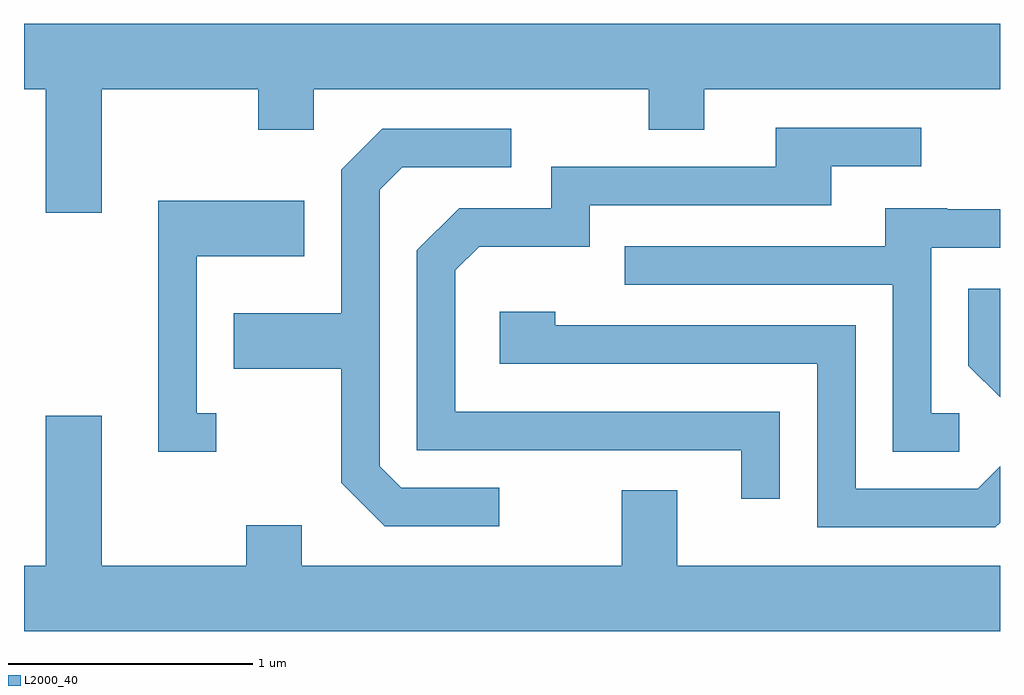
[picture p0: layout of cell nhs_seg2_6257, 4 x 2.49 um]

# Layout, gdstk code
import gdstk
lib = gdstk.Library(unit=1e-6, precision=1e-09)
def P(c, l, *ps):  # polygons
    for p in ps: c.add(gdstk.Polygon(p, *l))
L2000_40 = (2000, 40)

nhs_seg2_6257 = lib.new_cell('nhs_seg2_6257')
P(nhs_seg2_6257, L2000_40, [(369.929,1050.536),(370.571,1050.536),(370.571,1050.371),(370.799,1050.371),(370.799,1050.536),(372.171,1050.536),(372.171,1050.371),(372.399,1050.371),(372.399,1050.536),(373.611,1050.536),(373.611,1050.804),(369.611,1050.804),(369.611,1050.536),(369.701,1050.536),(369.701,1050.031),(369.929,1050.031)],
  [(372.709,1049.214),(371.379,1049.214),(371.379,1049.794),(371.477,1049.891),(371.929,1049.891),(371.929,1050.061),(372.919,1050.061),(372.919,1050.221),(373.288,1050.221),(373.288,1050.379),(372.691,1050.379),(372.691,1050.219),(371.771,1050.219),(371.771,1050.049),(371.394,1050.049),(371.221,1049.877),(371.221,1049.056),(372.551,1049.056),(372.551,1048.858),(372.709,1048.858)],
  [(371.558,1048.904),(371.157,1048.904),(371.069,1048.992),(371.069,1050.124),(371.162,1050.216),(371.608,1050.216),(371.608,1050.374),(371.079,1050.374),(370.911,1050.207),(370.911,1049.619),(370.471,1049.619),(370.471,1049.391),(370.911,1049.391),(370.911,1048.924),(371.089,1048.746),(371.558,1048.746)],
  [(370.398,1049.209),(370.319,1049.209),(370.319,1049.851),(370.759,1049.851),(370.759,1050.079),(370.161,1050.079),(370.161,1049.051),(370.398,1049.051)],
  [(373.443,1049.209),(373.329,1049.209),(373.329,1049.886),(373.611,1049.886),(373.611,1050.044),(373.395,1050.044),(373.395,1050.049),(373.141,1050.049),(373.141,1049.894),(372.073,1049.894),(372.073,1049.736),(373.171,1049.736),(373.171,1049.051),(373.443,1049.051)],
  [(373.611,1049.718),(373.481,1049.718),(373.481,1049.404),(373.611,1049.274)],
  [(373.611,1048.76),(373.611,1048.991),(373.519,1048.899),(373.019,1048.899),(373.019,1049.569),(371.789,1049.569),(371.789,1049.624),(371.561,1049.624),(371.561,1049.411),(372.861,1049.411),(372.861,1048.741),(373.592,1048.741)],
  [(373.611,1048.584),(372.289,1048.584),(372.289,1048.894),(372.061,1048.894),(372.061,1048.584),(370.749,1048.584),(370.749,1048.749),(370.521,1048.749),(370.521,1048.584),(369.929,1048.584),(369.929,1049.199),(369.701,1049.199),(369.701,1048.584),(369.611,1048.584),(369.611,1048.316),(373.611,1048.316)])

lib.write_gds('nhs_seg2_6257.gds')
